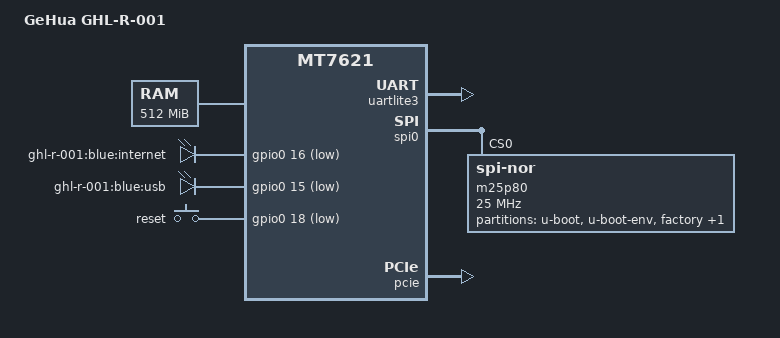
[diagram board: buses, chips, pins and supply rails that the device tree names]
/dts-v1/;

#include "mt7621.dtsi"

#include <dt-bindings/gpio/gpio.h>
#include <dt-bindings/input/input.h>

/ {
	compatible = "gehua,ghl-r-001", "mediatek,mt7621-soc";
	model = "GeHua GHL-R-001";

	memory@0 {
		device_type = "memory";
		reg = <0x0 0x1c000000>, <0x20000000 0x4000000>;
	};

	chosen {
		bootargs = "console=ttyS0,57600";
	};

	gpio-leds {
		compatible = "gpio-leds";

		internet {
			label = "ghl-r-001:blue:internet";
			gpios = <&gpio0 16 GPIO_ACTIVE_LOW>;
		};

		usb {
			label = "ghl-r-001:blue:usb";
			gpios = <&gpio0 15 GPIO_ACTIVE_LOW>;
			trigger-sources = <&xhci_ehci_port1>, <&ehci_port2>;
			linux,default-trigger = "usbport";
		};
	};

	gpio-keys-polled {
		compatible = "gpio-keys-polled";
		poll-interval = <20>;

		reset {
			label = "reset";
			gpios = <&gpio0 18 GPIO_ACTIVE_LOW>;
			linux,code = <KEY_RESTART>;
		};
	};
};

&uartlite3 {
	status = "okay";
};

&spi0 {
	status = "okay";

	m25p80@0 {
		compatible = "jedec,spi-nor";
		reg = <0>;
		spi-max-frequency = <25000000>;

		partitions {
			compatible = "fixed-partitions";
			#address-cells = <1>;
			#size-cells = <1>;

			partition@0 {
				label = "u-boot";
				reg = <0x0 0x30000>;
				read-only;
			};

			partition@30000 {
				label = "u-boot-env";
				reg = <0x30000 0x10000>;
				read-only;
			};

			factory: partition@40000 {
				label = "factory";
				reg = <0x40000 0x10000>;
				read-only;
			};

			partition@50000 {
				compatible = "denx,uimage";
				label = "firmware";
				reg = <0x50000 0x1fb0000>;
			};
		};
	};
};

&pcie {
	status = "okay";
};

&pcie0 {
	wifi@0,0 {
		reg = <0x0000 0 0 0 0>;
		mediatek,mtd-eeprom = <&factory 0x0000>;
	};
};

&pcie1 {
	wifi@0,0 {
		reg = <0x0000 0 0 0 0>;
		mediatek,mtd-eeprom = <&factory 0x8000>;
		ieee80211-freq-limit = <5000000 6000000>;

		led {
			led-sources = <2>;
			led-active-low;
		};
	};
};

&ethernet {
	mtd-mac-address = <&factory 0xe000>;
};

&pinctrl {
	state_default: pinctrl0 {
		gpio {
			ralink,group = "wdt";
			ralink,function = "gpio";
		};
	};
};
